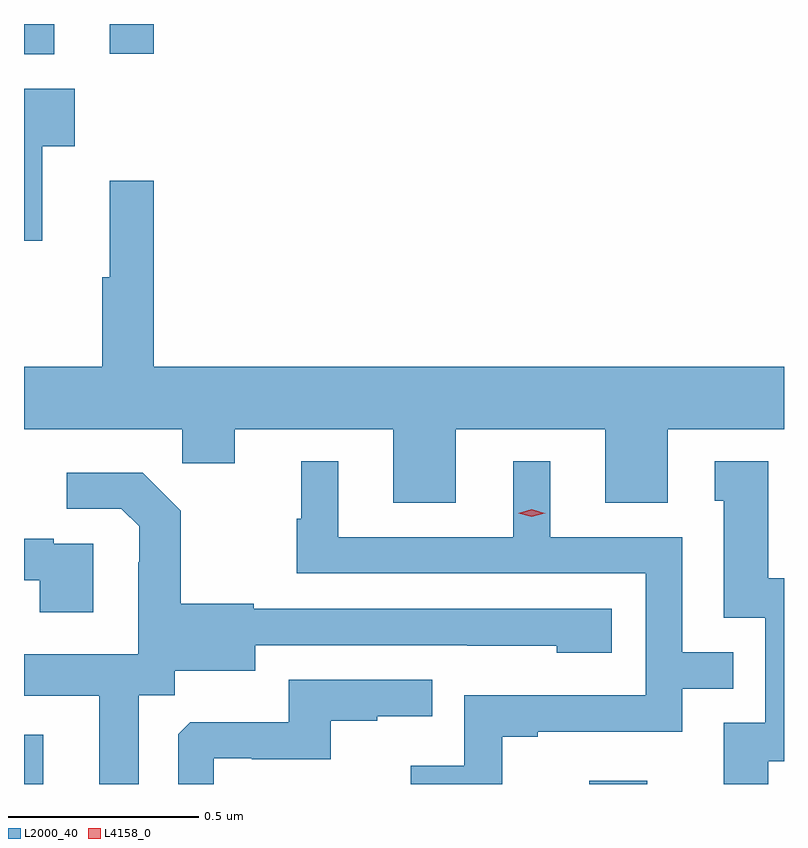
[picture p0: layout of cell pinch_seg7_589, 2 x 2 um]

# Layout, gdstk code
import gdstk
lib = gdstk.Library(unit=1e-6, precision=1e-09)
def R(c, l, rs):  # rectangles x0, y0, x1, y1
    for r in rs: c.add(gdstk.rectangle(r[:2], r[2:], *l))
def P(c, l, *ps):  # polygons
    for p in ps: c.add(gdstk.Polygon(p, *l))
L2000_40 = (2000, 40)
L4158_0 = (4158, 0)

pinch_seg7_589 = lib.new_cell('pinch_seg7_589')
R(pinch_seg7_589, L2000_40, [(148.475,1048.966,148.525,1049.095), (149.963,1048.966,150.115,1048.975), (148.475,1050.887,148.555,1050.966), (148.7,1050.888,148.817,1050.966)])
P(pinch_seg7_589, L2000_40, [(148.523,1050.644),(148.609,1050.644),(148.609,1050.796),(148.475,1050.796),(148.475,1050.396),(148.523,1050.396)],
  [(149.611,1049.9),(150.005,1049.9),(150.005,1049.706),(150.169,1049.706),(150.169,1049.9),(150.475,1049.9),(150.475,1050.064),(148.817,1050.064),(148.817,1050.553),(148.7,1050.553),(148.7,1050.3),(148.681,1050.3),(148.681,1050.064),(148.475,1050.064),(148.475,1049.9),(148.891,1049.9),(148.891,1049.81),(149.029,1049.81),(149.029,1049.9),(149.447,1049.9),(149.447,1049.706),(149.611,1049.706)],
  [(149.733,1049.091),(149.827,1049.091),(149.827,1049.103),(150.207,1049.103),(150.207,1049.217),(150.341,1049.217),(150.341,1049.313),(150.207,1049.313),(150.207,1049.616),(149.86,1049.616),(149.86,1049.815),(149.762,1049.815),(149.762,1049.616),(149.302,1049.616),(149.302,1049.815),(149.204,1049.815),(149.204,1049.664),(149.193,1049.664),(149.193,1049.52),(150.111,1049.52),(150.111,1049.199),(149.634,1049.199),(149.634,1049.014),(149.493,1049.014),(149.493,1048.966),(149.733,1048.966)],
  [(150.433,1049.026),(150.475,1049.026),(150.475,1049.507),(150.433,1049.507),(150.433,1049.815),(150.293,1049.815),(150.293,1049.712),(150.317,1049.712),(150.317,1049.403),(150.426,1049.403),(150.426,1049.127),(150.317,1049.127),(150.317,1048.966),(150.433,1048.966)],
  [(148.777,1049.2),(148.872,1049.2),(148.872,1049.264),(149.083,1049.264),(149.083,1049.331),(149.641,1049.331),(149.641,1049.33),(149.877,1049.33),(149.877,1049.312),(150.022,1049.312),(150.022,1049.427),(149.079,1049.427),(149.079,1049.44),(148.887,1049.44),(148.887,1049.685),(148.787,1049.785),(148.587,1049.785),(148.587,1049.691),(148.731,1049.691),(148.778,1049.644),(148.778,1049.549),(148.776,1049.549),(148.776,1049.308),(148.475,1049.308),(148.475,1049.198),(148.673,1049.198),(148.673,1048.966),(148.777,1048.966)],
  [(148.657,1049.598),(148.553,1049.598),(148.553,1049.611),(148.475,1049.611),(148.475,1049.502),(148.517,1049.502),(148.517,1049.418),(148.657,1049.418)],
  [(148.974,1049.034),(149.074,1049.034),(149.074,1049.031),(149.282,1049.031),(149.282,1049.133),(149.405,1049.133),(149.405,1049.144),(149.549,1049.144),(149.549,1049.241),(149.172,1049.241),(149.172,1049.129),(148.913,1049.129),(148.881,1049.097),(148.881,1048.966),(148.974,1048.966)])
P(pinch_seg7_589, L4158_0, [(149.811,1049.669),(149.775,1049.678),(149.775,1049.679),(149.775,1049.679),(149.811,1049.689),(149.846,1049.679),(149.847,1049.679),(149.846,1049.678)])

lib.write_gds('pinch_seg7_589.gds')
